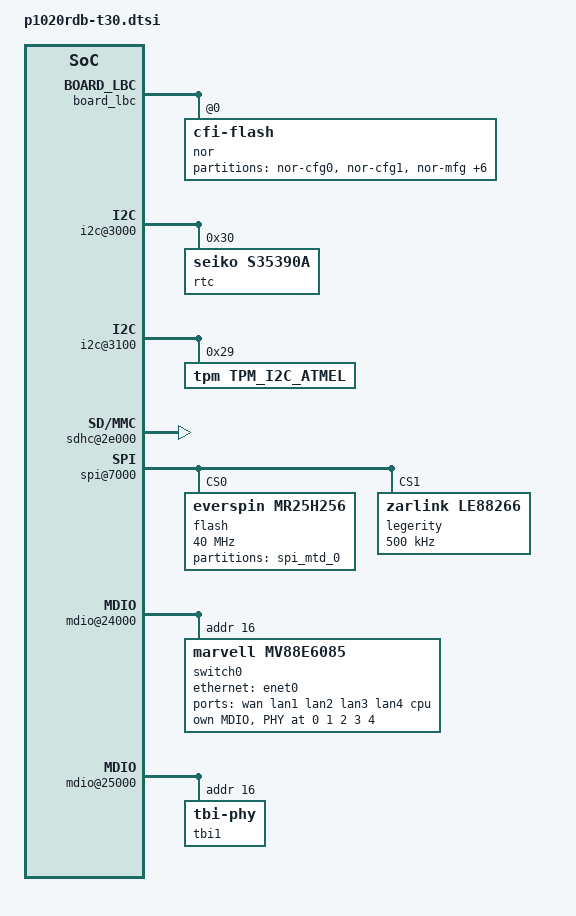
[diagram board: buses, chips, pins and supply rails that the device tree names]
// SPDX-License-Identifier: GPL-2.0-or-later OR MIT
/*
 * WatchGuard T30 Device Tree Source stub (no addresses or top-level ranges)
 * Copyright Matt Fawcett (mattytap@gmail.com)
 * Copyright 2011-2012 Freescale Semiconductor Inc.
 *
 * Redistribution and use in source and binary forms, with or without
 * modification, are permitted provided that the following conditions are met:
 *     * Redistributions of source code must retain the above copyright
 *       notice, this list of conditions and the following disclaimer.
 *     * Redistributions in binary form must reproduce the above copyright
 *       notice, this list of conditions and the following disclaimer in the
 *       documentation and/or other materials provided with the distribution.
 *     * Neither the name of Freescale Semiconductor nor the
 *       names of its contributors may be used to endorse or promote products
 *       derived from this software without specific prior written permission.
 *
 *
 * ALTERNATIVELY, this software may be distributed under the terms of the
 * GNU General Public License ("GPL") as published by the Free Software
 * Foundation, either version 2 of that License or (at your option) any
 * later version.
 *
 * THIS SOFTWARE IS PROVIDED BY Freescale Semiconductor ``AS IS'' AND ANY
 * EXPRESS OR IMPLIED WARRANTIES, INCLUDING, BUT NOT LIMITED TO, THE IMPLIED
 * WARRANTIES OF MERCHANTABILITY AND FITNESS FOR A PARTICULAR PURPOSE ARE
 * DISCLAIMED. IN NO EVENT SHALL Freescale Semiconductor BE LIABLE FOR ANY
 * DIRECT, INDIRECT, INCIDENTAL, SPECIAL, EXEMPLARY, OR CONSEQUENTIAL DAMAGES
 * (INCLUDING, BUT NOT LIMITED TO, PROCUREMENT OF SUBSTITUTE GOODS OR SERVICES;
 * LOSS OF USE, DATA, OR PROFITS; OR BUSINESS INTERRUPTION) HOWEVER CAUSED AND
 * ON ANY THEORY OF LIABILITY, WHETHER IN CONTRACT, STRICT LIABILITY, OR TORT
 * (INCLUDING NEGLIGENCE OR OTHERWISE) ARISING IN ANY WAY OUT OF THE USE OF THIS
 * SOFTWARE, EVEN IF ADVISED OF THE POSSIBILITY OF SUCH DAMAGE.
 */

&board_lbc {
	/* NOR Flash */
	nor@0 {
		#address-cells = <1>;
		#size-cells = <1>;
		compatible = "cfi-flash";
		reg = <0x0 0x0 0x400000>;
		bank-width = <2>;
		device-width = <1>;

		partitions {
			/* Maintain WatchGuard Flash partitioning including for u-boot */
			compatible = "fixed-partitions";
			#address-cells = <1>;
			#size-cells = <1>;
			
			partition@0 {
				reg = <0x0 0x20000>;
				label = "nor-cfg0";
			};

			partition@20000 {
				reg = <0x20000 0x10000>;
				label = "nor-cfg1";
			};

			partition@30000 {
				reg = <0x30000 0x20000>;
				label = "nor-mfg";
			};

			partition@50000 {
				reg = <0x50000 0xc0000>;
				label = "nor-bootopt";
			};

			partition@110000 {
				reg = <0x110000 0xc0000>;
				label = "nor-extra1";
			};

			partition@1D0000 {
				reg = <0x1d0000 0xc0000>;
				label = "nor-extra2";
			};

			partition@290000 {
				reg = <0x290000 0xe0000>;
				label = "nor-backup";
			};

			partition@370000 {
				/* This location must not be altered  */
				/* 64KB for u-boot Environment Variables */
				reg = <0x370000 0x10000>;
				label = "nor-ubootenv";
			};

			partition@380000 {
				/* This location must not be altered  */
				/* 64KB for u-boot Bootloader Image */
				reg = <0x380000 0x80000>;
				label = "nor-uboot";
				read-only;
			};
		};
	};
};

&board_soc {
	i2c@3000 {
		rtc@30 {
			compatible = "seiko,s35390a";
			reg = <0x30>;
		};
	};

	i2c@3100 {
		tpm@29 {
			compatible = "tpm,tpm_i2c_atmel";
			reg = <0x29>;
		};
	};
	
	sdhc@2e000 {
		compatible = "fsl,p1020-esdhc","fsl,esdhc";
		sdhci,auto-cmd12;
		reg = <0x2e000 0x1000>;
		interrupts = <0x48 0x2 0x0 0x0>;
		interrupt-parent = <&mpic>;
		fsl,sdhci-dma-broken;
		fsl,sdhci-ahb2mag-irq-bypass;
		fsl,sdhci-adjust-timeout;
		clock-frequency = <0>;
	};

	spi@7000 {
		flash@0 {
			#address-cells = <1>;
			#size-cells = <1>;
			compatible = "everspin,mr25h256","jedec,spi-nor";
			reg = <0>; /* Chip select 0 */
			spi-max-frequency = <40000000>; /* input clock */
			m25p,fast-read;

			partition@spi_mtd_0 {
				/* 4KB for u-boot (Bootstrap??)  */
				reg = <0x00 0x8000>;
				label = "spi_mtd_0";
				read-only;
			};
		};

		legerity@1 {
			compatible = "zarlink,le88266";
			reg = <0x01>;
			spi-max-frequency = <500000>;
		};
	};

	usb@22000 {
		phy_type = "ulpi";
		dr_mode = "host";
	};

	/* USB2 is shared with localbus. It is used
	   only in case of SPI and SD boot after
	   appropriate device-tree fixup done by uboot */
	usb@23000 {
		phy_type = "ulpi";
		dr_mode = "host";
	};

	mdio@24000 {
		switch0: tbi0: tbi-phy@10 {
			compatible = "marvell,mv88e6085";
			reg = <0x10>;
			
			dsa,member = <0 0>;
			
			mdio {
				#address-cells = <1>;
				#size-cells = <0>;

				switch0phy0: switch0phy0@0 {
					reg = <0x00>;
					interrupt-parent = <&switch0>;
				};

				switch0phy1: switch0phy1@1 {
					reg = <0x01>;
					interrupt-parent = <&switch0>;
				};

				switch0phy2: switch0phy2@2 {
					reg = <0x02>;
					interrupt-parent = <&switch0>;
				};

				switch0phy3: switch0phy3@3 {
					reg = <0x03>;
					interrupt-parent = <&switch0>;
				};

				switch0phy4: switch0phy4@4 {
					reg = <0x04>;
					interrupt-parent = <&switch0>;
				};
			};
			
			ports {
				#address-cells = <1>;
				#size-cells = <0>;
				  
				port@0 {
					reg = <0x00>;
					label = "wan";
					phy-handle = <&switch0phy0>;
				};

				port@1 {
					reg = <1>;
					label = "lan1";
					phy-handle = <&switch0phy1>;
				};

				port@2 {
					reg = <2>;
					label = "lan2";
					phy-handle = <&switch0phy2>;
				};
				  
				port@3 {
					reg = <3>;
					label = "lan3";
					phy-handle = <&switch0phy3>;
				};

				port@4 {
					reg = <4>;
					label = "lan4";
					phy-handle = <&switch0phy4>;
				};
									
				switch0port6: port@6 {
					reg = <6>;
					label = "cpu";
					ethernet = <&enet0>;
					phy-mode = "rgmii-id";
					fixed-link {
						speed = <1000>;
						full-duplex;
					};
				};
			};
		};
	};

	mdio@25000 {
		tbi1: tbi-phy@10 {
			reg = <0x10>;
			device_type = "tbi-phy";
		};
	};

	mdio@26000 {
	};

	enet0: ethernet@b0000 {
		phy-connection-type = "rgmii-id";
		fixed-link {
			speed = <1000>;
			full-duplex;
		};
	};

	enet1: ethernet@b1000 {
		status = "disabled";
	};

	enet2: ethernet@b2000 {
		status = "disabled";
	};

	gpio0: gpio-controller@f000 {
		#gpio-cells = <2>;
		compatible = "fsl,mpc8572-gpio", "fsl,pq3-gpio";
		reg = <0xf000 0x100>;
		interrupts = <47 2 0 0>;
		gpio-controller;
	};

	gpio1: gpio-controller@fc00 {
		/* not used on T30 */
		status = "disabled";
	};

	message@42400 {
		compatible = "fsl,mpic-msg";
		interrupts = <0xb4 0x02 0x00 0x00 0xb5 0x02 0x00 0x00 0xb6 0x02 0x00 0x00 0xb7 0x02 0x00 0x00>;
		reg = <0x42400 0x200>;
	};
};
